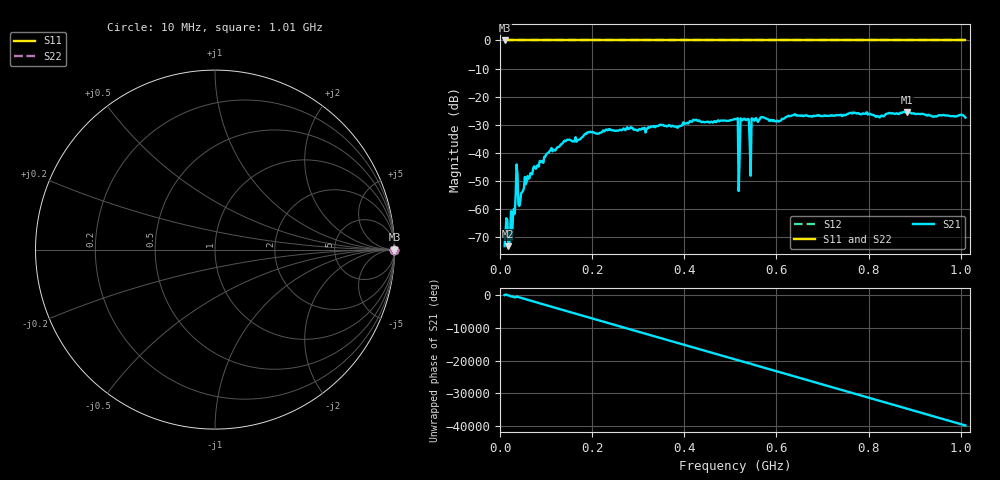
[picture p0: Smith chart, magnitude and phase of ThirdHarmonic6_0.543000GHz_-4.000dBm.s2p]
! 8/15/2025 5:04:38 PM
! C:\ANRITSUVNA\TEMP\TEMP.S2P
! CHANNEL.1
! TR.MEASUREMENT
! RAW.DATA
! RF.CORRECTION.OFF
! AVERAGING.OFF
! IF.BANDWIDTH: 5KHZ
! SWEEPTYPE:  FREQ.SWEEP(Linear)
! Reference Plane Port Info
! PORT:  PORT1  PORT2
! DISTANCE:  0  m  0  m
! TIME:  0  s  0  s
! PHASE.OFFSET:  0  deg.  0  deg.
! LOSS:  0  dB  0  dB
! REF.LOSS:  0  dB  0  dB
! REF.FREQ:  0  Hz  0  Hz
! Power Info
! POWER:  -20  dBm  -20  dBm
! EFF.POWER:  -20  dBm  -20  dBm
! SOURCE.ATTEN:  0  dB  0  dB
! TEST.ATTEN:  0  dB  0  dB
# GHZ S RI R 50.0
! FREQ.GHZ  S11RE  S11IM  S21RE  S21IM  S12RE  S12IM  S22RE  S22IM
!; PortSelection: Port_12
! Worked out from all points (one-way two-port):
!   501 points, 10 MHz to 1.01 GHz, reference 50 ohm
!   highest |S21| = -25.39 dB at 884 MHz (marker M1); lowest = -73.1 dB at 18 MHz (marker M2)
!   lowest |S11| = 0.0 dB at 10 MHz (marker M3)
!   |S11| at or under -10 dB: nowhere
!   |S22| runs from 0.0 to 0.0 dB; largest |S21 - S12| = 1.1
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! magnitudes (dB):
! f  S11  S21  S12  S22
! 10 MHz  0.0  -73.1  0.0  0.0
! 18 MHz  0.0  -73.1  0.0  0.0
! 22 MHz  0.0  -68.9  0.0  0.0
! 34 MHz  0.0  -55.1  0.0  0.0
! 38 MHz  0.0  -47.9  0.0  0.0
! 44 MHz  0.0  -57.2  0.0  0.0
! 58 MHz  0.0  -50.2  0.0  0.0
! 108 MHz  0.0  -39.2  0.0  0.0
! 178 MHz  0.0  -34.4  0.0  0.0
! 344 MHz  0.0  -30.3  0.0  0.0
! 510 MHz  0.0  -27.9  0.0  0.0
! 516 MHz  0.0  -27.6  0.0  0.0
! 522 MHz  0.0  -27.7  0.0  0.0
! 526 MHz  0.0  -28.4  0.0  0.0
! 536 MHz  0.0  -28.0  0.0  0.0
! 540 MHz  0.0  -28.1  0.0  0.0
! 546 MHz  0.0  -27.7  0.0  0.0
! 550 MHz  0.0  -28.1  0.0  0.0
! 678 MHz  0.0  -27.1  0.0  0.0
! 844 MHz  0.0  -25.8  0.0  0.0
! 884 MHz  0.0  -25.4  0.0  0.0
! 1.01 GHz  0.0  -27.4  0.0  0.0
